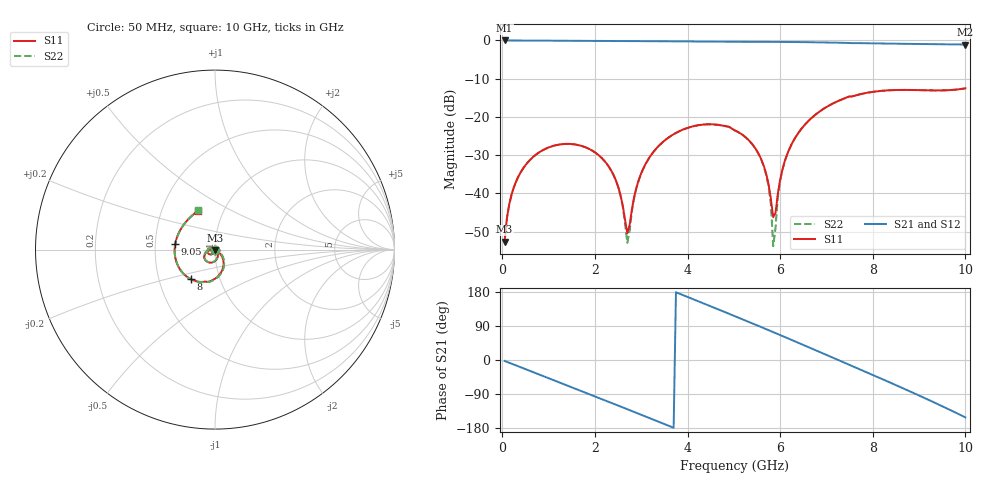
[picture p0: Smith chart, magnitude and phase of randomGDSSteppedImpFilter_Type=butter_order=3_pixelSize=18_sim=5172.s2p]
! freq	dB(S11)	phase(S11)	dB(S12)	phase(S12)
!  dB(S21)	phase(S21)	dB(S22)	phase(S22)
!S-par simulation data
#  GHz  S  DB  R 50
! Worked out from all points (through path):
!   200 points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, 50 MHz to 10 GHz, reference 50 ohm
!   highest |S21| = 0.00 dB at 50 MHz (marker M1); lowest = -1.1 dB at 10 GHz (marker M2)
!   group delay of S21, straight-line fit = 141 ps
!   lowest |S11| = -52.6 dB at 50 MHz (marker M3), VSWR 1.00, Z = 50 - j0.235 ohm
!   |S11| at or under -10 dB: start of sweep to end of sweep
!   |S22| runs from -53.8 to -12.5 dB; largest |S21 - S12| = 0
!   S11 on the Smith chart (normalised r, x): 50 MHz: 1.00, -0.00; 8 GHz: 0.73, -0.25; 9.05 GHz: 0.64, +0.04; 10 GHz: 0.76, +0.35
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0.05  -52.57 -89.8  -0.00 -2.4  -0.00 -2.4  -52.68 -88.9
0.2  -40.31 -98.3  -0.02 -9.7  -0.02 -9.7  -40.30 -98.1
0.55  -31.87 -116.7  -0.03 -26.5  -0.03 -26.5  -31.88 -116.7
1.75  -27.72 -177.0  -0.10 -84.0  -0.10 -84.0  -27.72 -176.6
2.4  -35.11 145.7  -0.13 -115.3  -0.13 -115.3  -35.15 147.8
2.6  -43.06 121.1  -0.14 -125.0  -0.14 -125.0  -43.38 126.9
2.7  -50.39 60.1  -0.15 -129.9  -0.15 -129.9  -52.90 63.4
2.95  -36.33 -40.6  -0.17 -142.1  -0.17 -142.1  -36.43 -44.2
3.4  -27.29 -69.6  -0.21 -164.1  -0.21 -164.1  -27.32 -71.3
4.2  -22.22 -110.2  -0.29 156.6  -0.29 156.6  -22.24 -111.7
5.05  -23.67 -151.7  -0.35 114.4  -0.35 114.4  -23.69 -154.3
5.65  -32.89 -174.1  -0.36 83.9  -0.36 83.9  -33.09 176.8
5.8  -41.41 -161.9  -0.37 76.2  -0.37 76.2  -42.82 172.1
5.85  -46.20 -129.2  -0.37 73.6  -0.37 73.6  -53.77 -169.9
5.95  -40.08 -46.3  -0.38 68.5  -0.38 68.5  -40.89 -23.2
6.1  -31.54 -37.5  -0.39 60.7  -0.39 60.7  -31.61 -28.8
6.7  -20.03 -61.7  -0.47 29.3  -0.47 29.3  -20.02 -59.2
7.35  -15.33 -95.0  -0.61 -5.1  -0.61 -5.1  -15.33 -93.5
8  -13.44 -129.5  -0.77 -39.4  -0.77 -39.4  -13.44 -128.4
8.35  -13.03 -148.5  -0.83 -58.2  -0.83 -58.2  -13.03 -147.6
9.05  -13.00 171.5  -0.93 -96.5  -0.93 -96.5  -13.01 172.1
10  -12.51 113.2  -1.08 -151.4  -1.08 -151.4  -12.52 113.0
